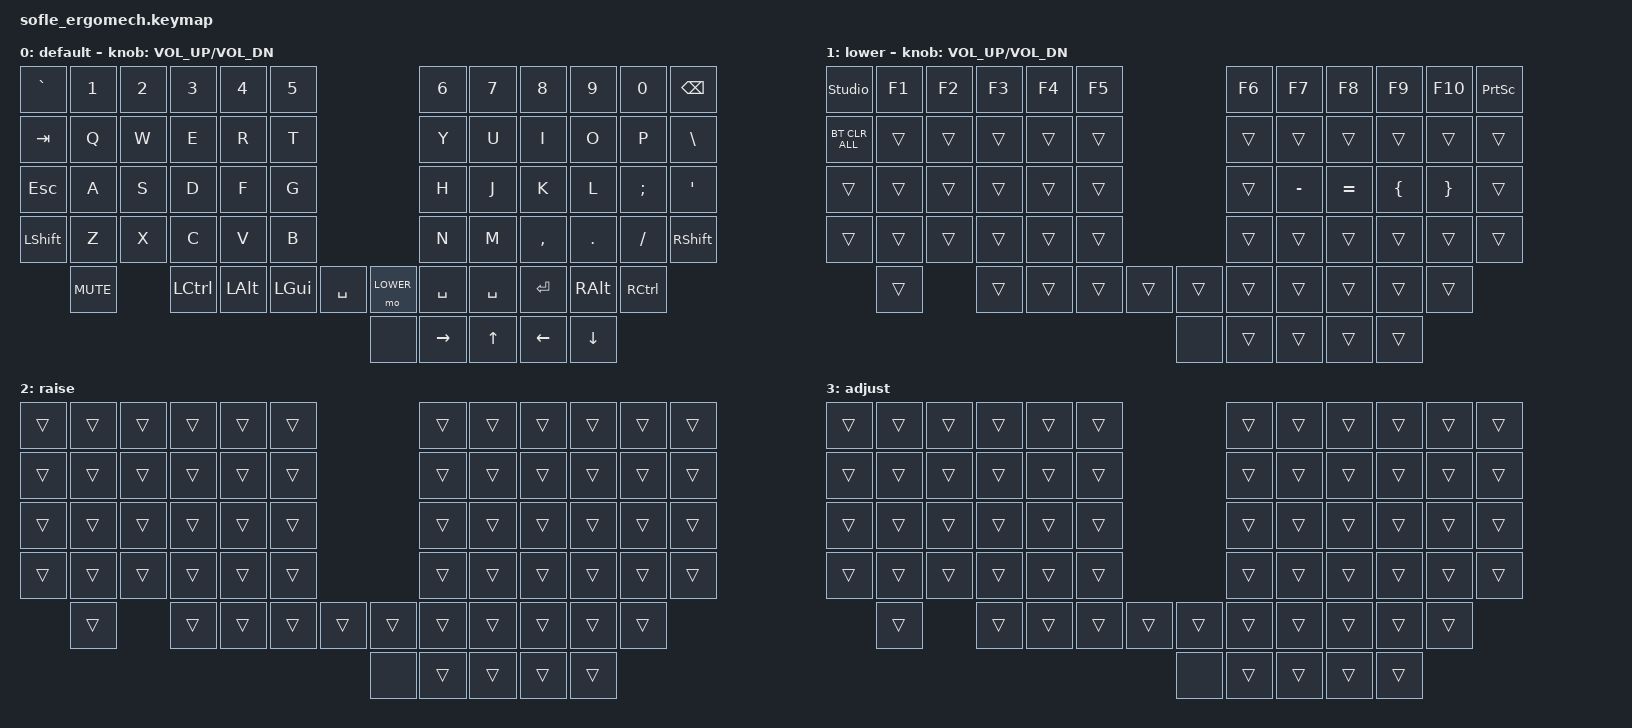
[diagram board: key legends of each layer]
/*
 * Copyright (c) 2020 The ZMK Contributors
 *
 * SPDX-License-Identifier: MIT
 */

#include <behaviors.dtsi>
#include <dt-bindings/zmk/keys.h>
#include <dt-bindings/zmk/bt.h>
#include <dt-bindings/zmk/rgb.h>
#include <dt-bindings/zmk/ext_power.h>

#define BASE 0
#define LOWER 1
#define RAISE 2
#define ADJUST 3

/ {

   // Activate ADJUST layer by pressing raise and lower
    conditional_layers {
        compatible = "zmk,conditional-layers";
        adjust_layer {
            if-layers = <LOWER RAISE>;
            then-layer = <ADJUST>;
        };
    };

    keymap {
        compatible = "zmk,keymap";

        default_layer {
            label = "default";
// ------------------------------------------------------------------------------------------------------------
// |   `   |  1  |  2  |  3   |  4   |  5   |                   |  6   |  7    |  8    |  9   |   0   | BKSPC |
// |  TAB  |  Q  |  W  |  E   |  R   |  T   |                   |  Y   |  U    |  I    |  O   |   P   |   \   |
// |  ESC  |  A  |  S  |  D   |  F   |  G   |                   |  H   |  J    |  K    |  L   |   ;   |   '   |
// | SHIFT |  Z  |  X  |  C   |  V   |  B   |  MUTE  |  |       |  N   |  M    |  ,    |  .   |   /   | SHIFT |
//             | CTRL  | ALT  | GUI  | SPACE| LOWER |  | SPACE | SPACE| RETURN| ALTGR | CTRL |
            bindings = <
&kp GRAVE &kp N1 &kp N2   &kp N3   &kp N4    &kp N5                           &kp N6 &kp N7    &kp N8    &kp N9   &kp N0   &kp BSPC
&kp TAB   &kp Q  &kp W    &kp E    &kp R     &kp T                            &kp Y  &kp U     &kp I     &kp O    &kp P    &kp BSLH
&kp ESC   &kp A  &kp S    &kp D    &kp F     &kp G                            &kp H  &kp J     &kp K     &kp L    &kp SEMI &kp SQT
&kp LSHFT &kp Z  &kp X    &kp C    &kp V     &kp B                            &kp N  &kp M     &kp COMMA &kp DOT  &kp FSLH &kp RSHFT
             &kp C_MUTE  &kp LCTRL &kp LALT &kp LGUI &kp SPACE  &mo LOWER    &kp SPACE  &kp SPACE  &kp RET &kp RALT  &kp RCTRL
                                                                   &none  &kp RIGHT  &kp UP  &kp LEFT  &kp DOWN
            >;

            sensor-bindings = <&inc_dec_kp C_VOL_UP C_VOL_DN>;
        };

        lower_layer {
            label = "lower";
// ------------------------------------------------------------------------------------------------------------
// |STUDIO |  F1 |  F2 |  F3  |  F4  |  F5  |                   |  F6  |  F7   |  F8   |  F9  |  F10  | PSCRN |
// | BTCLR |     |     |      |      |      |                   |      |       |       |      |       |       |
// |       |     |     |      |      |      |                   |      |   -   |   =   |  {   |   }   |       |
// |       |     |     |      |      |      |        |  |       |      |       |       |      |       |       |
//               |     |     |      |      |       |  |       |      |       |       |      |
            bindings = <
&studio_unlock  &kp F1  &kp F2  &kp F3  &kp F4  &kp F5  &kp F6  &kp F7  &kp F8  &kp F9     &kp F10   &kp PSCRN
&bt BT_CLR_ALL  &trans  &trans  &trans  &trans  &trans  &trans     &trans  &trans  &trans     &trans     &trans
&trans  &trans  &trans  &trans  &trans  &trans  &trans  &kp MINUS  &kp EQUAL  &kp LBRC  &kp RBRC  &trans
&trans  &trans  &trans  &trans  &trans  &trans  &trans      &trans         &trans         &trans     &trans     &trans
&trans  &trans  &trans  &trans  &trans  &trans  &trans  &trans  &trans  &trans  &trans
                                                    &none  &trans  &trans  &trans  &trans
            >;

            sensor-bindings = <&inc_dec_kp C_VOL_UP C_VOL_DN>;
        };

        raise_layer {
            label = "raise";
            bindings = <
&trans  &trans  &trans  &trans  &trans  &trans  &trans  &trans  &trans  &trans  &trans  &trans
&trans  &trans  &trans  &trans  &trans  &trans  &trans  &trans  &trans  &trans  &trans  &trans
&trans  &trans  &trans  &trans  &trans  &trans  &trans  &trans  &trans  &trans  &trans  &trans
&trans  &trans  &trans  &trans  &trans  &trans  &trans  &trans  &trans  &trans  &trans  &trans
&trans  &trans  &trans  &trans  &trans  &trans  &trans  &trans  &trans  &trans  &trans
                                                &none  &trans  &trans  &trans  &trans
            >;
        };

        adjust_layer {
            label = "adjust";
            bindings = <
&trans  &trans  &trans  &trans  &trans  &trans  &trans  &trans  &trans  &trans  &trans  &trans
&trans  &trans  &trans  &trans  &trans  &trans  &trans  &trans  &trans  &trans  &trans  &trans
&trans  &trans  &trans  &trans  &trans  &trans  &trans  &trans  &trans  &trans  &trans  &trans
&trans  &trans  &trans  &trans  &trans  &trans  &trans  &trans  &trans  &trans  &trans  &trans
&trans  &trans  &trans  &trans  &trans  &trans  &trans  &trans  &trans  &trans  &trans
                                                &none  &trans  &trans  &trans  &trans
            >;
        };

    };
};
